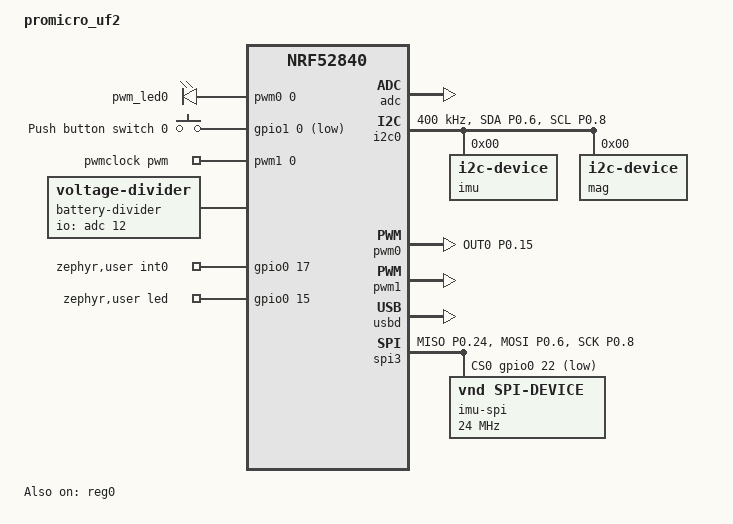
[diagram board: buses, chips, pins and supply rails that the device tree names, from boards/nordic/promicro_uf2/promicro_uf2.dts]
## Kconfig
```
#
# Copyright (c) 2023 Nordic Semiconductor
#
# SPDX-License-Identifier: LicenseRef-Nordic-5-Clause
#

config USE_SLIMENRF_CONSOLE
    bool "Use basic console"
    default y
    help
        Use basic console for commands.

choice
	prompt "Battery voltage mapping"
    default BATTERY_NO_MAPPING

config BATTERY_USE_REG_BUCK_MAPPING
    bool "Use buck regulator mapping (3.7V battery, DCDC)"
    help
      Use a constant power mapping for battery voltage.
      Preffered for systems with a buck regulator.
      Measured at a system voltage of 3.0V.

config BATTERY_USE_REG_LDO_MAPPING
    bool "Use LDO linear regulator mapping (3.7V battery, LDO)"
    help
      Use a constant current mapping for battery voltage.
      Preferred for systems with a linear regulator.

config BATTERY_NO_MAPPING
    bool "Disable battery voltage mapping"
    help
      Always map to 100% battery. Disables battery monitoring.

endchoice

choice
	prompt "Status LED color mapping"
    default LED_TRI_COLOR

config LED_RGB_COLOR
    bool "Use RGB color mapping"
    help
        Use RGB or RG color mapping for LED status if available.

config LED_TRI_COLOR
    bool "Use default color mapping"
    help
        Use the default color mapping for LED status.

endchoice

menu "Status LED default status color"
    depends on LED_RGB_COLOR

config LED_DEFAULT_COLOR_R
    int "Red value"
    range 0 10000
    default 4000
    depends on LED_RGB_COLOR
    help
        Red color for default status.
        Valid range is 0 to 10000.

config LED_DEFAULT_COLOR_G
    int "Green value"
    range 0 10000
    default 6000
    depends on LED_RGB_COLOR
    help
        Green color for default status.
        Valid range is 0 to 10000.

config LED_DEFAULT_COLOR_B
    int "Blue value"
    range 0 10000
    default 0
    depends on LED_RGB_COLOR
    help
        Blue color for default status.
        Valid range is 0 to 10000.

endmenu

config USER_EXTRA_ACTIONS
    bool "Multiple press actions"
    default y
    help
        Allow user to use multiple presses to calibrate, pair, or enter DFU.
        By default, pairing is available when holding down sw0 for 5 seconds.
        By default, DFU is available when holding down sw0 and plugging in a USB cable.

config IGNORE_RESET
    bool "Ignore reset"
    default y
    help
        If sw0 is available, don't perform any extra actions on reset.

config USER_SHUTDOWN
    bool "User shutdown support"
    default y
    help
        Allow user to use reset or sw0 to shutdown.

config USE_IMU_WAKE_UP
    bool "IMU wake up support"
    default y
    help
        Use IMU wake up state if IMU wake up is present.

config DELAY_SLEEP_ON_STATUS
    bool "Delay IMU wake up mode on status flags"
    default y
    depends on USE_IMU_WAKE_UP
    help
        Delay IMU wake up state if there is an active status flag or in pairing mode.

config WOM_USE_DCDC
    bool "Use DCDC in IMU wake up mode"
    depends on USE_IMU_WAKE_UP
    help
        Use DCDC instead of LDO in IMU wake up state if it is more efficient.

config CONNECTION_TIMEOUT_DELAY
    int "Connection timeout delay (ms)"
    default 300000
    depends on USER_SHUTDOWN
    help
        Connection timeout duration when receiver is not detected.

menu "Sensor power saving"

config SENSOR_LP_TIMEOUT
    int "Sensor low power delay (ms)"
    default 500
    help
        Low power timeout during no motion.

config SENSOR_USE_LOW_POWER_2
    bool "Use additional low power modes"
    help
        Use a higher latency sensor mode during no motion.

config USE_IMU_TIMEOUT
    bool "Use IMU wake up state"
    default y
    depends on USE_IMU_WAKE_UP
    help
        Use IMU wake up state during no motion.

config IMU_TIMEOUT_RAMP_MIN
    int "Sensor timeout minimum delay (ms)"
    default 1000
    depends on USE_IMU_TIMEOUT || SENSOR_USE_LOW_POWER_2
    help
        Minimum timeout during no motion.

config IMU_TIMEOUT_RAMP_MAX
    int "Sensor timeout maximum delay (ms)"
    default 15000
    depends on USE_IMU_TIMEOUT || SENSOR_USE_LOW_POWER_2
    help
        Maximum timeout during no motion.

config USE_ACTIVE_TIMEOUT
    bool "Use activity timeout"
    default y
    depends on USE_IMU_WAKE_UP || USER_SHUTDOWN
    help
        Delay IMU wake up state or user shutdown during activity.

choice 
    prompt "Activity timeout mode"
    default SLEEP_ON_ACTIVE_TIMEOUT
    depends on USE_ACTIVE_TIMEOUT

config SLEEP_ON_ACTIVE_TIMEOUT
    bool "IMU wake up"
    depends on USE_IMU_WAKE_UP
    help
        Use IMU wake up state when activity timeout elapses.

config SHUTDOWN_ON_ACTIVE_TIMEOUT
    bool "User shutdown"
    depends on USER_SHUTDOWN
    help
        Use user shutdown when activity timeout elapses.

endchoice

config ACTIVE_TIMEOUT_THRESHOLD
    int "Activity timeout threshold (ms)"
    default 15000
    depends on USE_ACTIVE_TIMEOUT
    help
        Trigger activity timeout after a certain threshold of activity.

config ACTIVE_TIMEOUT_DELAY
    int "Activity timeout delay (ms)"
    default 28800000
    depends on USE_ACTIVE_TIMEOUT
    help
        Activity timeout duration when triggered.

endmenu

config SENSOR_ACCEL_ODR
    int "Accelerometer output data rate (Hz)"
    default 100
    help
        Requested accelerometer output data rate. Actual rate will be raised to the nearest supported rate.
        A higher rate will increase the time to read and process sensor data.

config SENSOR_GYRO_ODR
    int "Gyrometer output data rate (Hz)"
    default 400
    help
        Requested gyrometer output data rate. Actual rate will be raised to the nearest supported rate.
        A higher rate will increase the time to read and process sensor data.
        400Hz is recommended for IMUs with poor gyrometer rate noise density. (Ex. BMI270, LSM6DS3TR-C)

config SENSOR_ACCEL_FS
    int "Accelerometer full scale (g)"
    default 4
    help
        Requested accelerometer full scale. Actual scale will be raised to the nearest supported scale.
        A lower scale may improve noise performance, but is more likely to saturate.

config SENSOR_GYRO_FS
    int "Gyrometer full scale (dps)"
    default 1000
    help
        Requested gyrometer full scale. Actual scale will be raised to the nearest supported scale.
        A lower scale may improve noise performance, but is more likely to saturate.

config SENSOR_USE_MAG
    bool "Magnetometer support"
    default y
    help
        Use magnetometer if it is present.

config USE_SENSOR_CLOCK
    bool "Use external IMU clock"
    default y
    help
        Use external IMU clock if it is present.

choice
	prompt "Sensor fusion"
    default SENSOR_USE_VQF
    help
        Select the sensor fusion method.

config SENSOR_USE_XIOFUSION
    bool "Use x-io Technologies Fusion"
    help
        Use x-io Technologies Fusion for sensor fusion.
        Based on Madgwick filter.

config SENSOR_USE_VQF
    bool "Use VQF"
    help
        Use VQF for sensor fusion.
        Based on Kalman filter.

endchoice

config SENSOR_USE_6_SIDE_CALIBRATION
    bool "Use 6-side calibration"
    default y
    depends on USE_SLIMENRF_CONSOLE
    help
        Use 6-side calibration for accelerometer.
        Calibration can be completed through the basic console.

config RADIO_TX_POWER
    int "Radio output power (dBm)"
    default 8
    help
        Radio output power level.
        A lower value may reduce power consumption.

source "Kconfig.zephyr"
```

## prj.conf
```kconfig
#CONFIG_NCS_SAMPLES_DEFAULTS
CONFIG_ASSERT=y
CONFIG_ASSERT_NO_COND_INFO=y
CONFIG_ASSERT_NO_MSG_INFO=y
CONFIG_RESET_ON_FATAL_ERROR=y

CONFIG_NCS_APPLICATION_BOOT_BANNER_STRING="SlimeVR-Tracker-nRF"
#CONFIG_NCS_BOOT_BANNER=n
CONFIG_BOOT_BANNER=n

CONFIG_ESB=y
#need to enable for nRF54L
CONFIG_NRFX_DPPI10=y

CONFIG_ADC=y
CONFIG_ADC_NRFX_SAADC=y
CONFIG_FPU=y
CONFIG_I2C=y
CONFIG_SPI=y
CONFIG_PINCTRL=y

CONFIG_NVS=y
CONFIG_NVS_LOOKUP_CACHE=y
CONFIG_NVS_INIT_BAD_MEMORY_REGION=y

CONFIG_POWEROFF=y
CONFIG_REBOOT=y

CONFIG_FLASH=y
CONFIG_FLASH_PAGE_LAYOUT=y
CONFIG_FLASH_MAP=y

CONFIG_SETTINGS=y
CONFIG_SETTINGS_RUNTIME=y
CONFIG_SETTINGS_NONE=y

CONFIG_MPU_ALLOW_FLASH_WRITE=y

CONFIG_RETAINED_MEM=y

CONFIG_USE_SEGGER_RTT=y
CONFIG_LOG=y
#CONFIG_PRINTK=y
CONFIG_LOG_MODE_DEFERRED=y
CONFIG_LOG_SPEED=y
CONFIG_LOG_BACKEND_RTT=y
CONFIG_CBPRINTF_FP_SUPPORT=y
CONFIG_ADC_LOG_LEVEL_OFF=y
CONFIG_LOG_FUNC_NAME_PREFIX_ERR=y
CONFIG_LOG_BUFFER_SIZE=1536
CONFIG_LOG_BACKEND_UART_AUTOSTART=n
CONFIG_LOG_PROCESS_THREAD_SLEEP_MS=50
CONFIG_LOG_PROCESS_THREAD_STACK_SIZE=1024

CONFIG_PWM=y
CONFIG_GPIO=y

CONFIG_CRC=y

CONFIG_NEWLIB_LIBC=y
CONFIG_NRFX_TIMER1=y

# Use uncalibrated RC clock on boot, will switch to external oscillator in the app after boot
CONFIG_CLOCK_CONTROL_NRF_K32SRC_RC=y
CONFIG_CLOCK_CONTROL_NRF_K32SRC_RC_CALIBRATION=n
CONFIG_CLOCK_CONTROL_NRF_K32SRC_SYNTH=y

# dont need it
CONFIG_CRYPTO=n

# set timeout for 25ms, sufficient for ~1000 bytes
CONFIG_I2C_NRFX_TRANSFER_TIMEOUT=25

CONFIG_USB_DEVICE_HID=y
CONFIG_USB_DEVICE_VID=0x1209
CONFIG_USB_DEVICE_PID=0x7692
CONFIG_USB_HID_BOOT_PROTOCOL=y
CONFIG_USB_DEVICE_INITIALIZE_AT_BOOT=n
CONFIG_USB_CDC_ACM=y
CONFIG_UART_INTERRUPT_DRIVEN=y
CONFIG_USB_WORKQUEUE_STACK_SIZE=512

CONFIG_SERIAL=y
CONFIG_CONSOLE=y
CONFIG_RTT_CONSOLE=y
CONFIG_UART_CONSOLE=y
CONFIG_UART_LINE_CTRL=y
# fit "write all <base64:173>"
CONFIG_CONSOLE_INPUT_MAX_LINE_LEN=256

CONFIG_LOG=y
CONFIG_USB_DRIVER_LOG_LEVEL_ERR=y
CONFIG_USB_DEVICE_LOG_LEVEL_ERR=y
CONFIG_USB_CDC_ACM_LOG_LEVEL_OFF=y

CONFIG_LOG_BACKEND_UART=y

CONFIG_CONSOLE_SUBSYS=y
CONFIG_CONSOLE_GETLINE=y

CONFIG_NVS_LOG_LEVEL_WRN=y
CONFIG_USB_HID_LOG_LEVEL_WRN=y

CONFIG_USB_DEVICE_SOF=y
CONFIG_USB_HID_REPORTS=256

#CONFIG_USB_HID_POLL_INTERVAL_MS=1
CONFIG_USB_HID_POLL_INTERVAL_MS=0
CONFIG_HID_INTERRUPT_EP_MPS=64
#CONFIG_ENABLE_HID_INT_OUT_EP=y

CONFIG_SYSTEM_WORKQUEUE_STACK_SIZE=256
CONFIG_MAIN_STACK_SIZE=512
#crashing on nrf54l at 512

CONFIG_THREAD_NAME=y

# TODO: because of icm426, this will break things and needs to be raised to at least 3k
CONFIG_HEAP_MEM_POOL_SIZE=2048
CONFIG_ISR_STACK_SIZE=1024

CONFIG_PM_DEVICE=y

CONFIG_BASE64=y

#CONFIG_THREAD_ANALYZER=y
#CONFIG_THREAD_ANALYZER_AUTO=y
#CONFIG_THREAD_ANALYZER_AUTO_INTERVAL=5
```

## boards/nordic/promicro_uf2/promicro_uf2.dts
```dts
// Copyright (c) 2024 Nordic Semiconductor ASA
// SPDX-License-Identifier: Apache-2.0

/dts-v1/;
#include <nordic/nrf52840_qiaa.dtsi>

//move to dtsi?
&pinctrl {
	i2c0_default: i2c0_default {
		group1 {
			psels = <NRF_PSEL(TWIM_SDA, 0, 6)>, <NRF_PSEL(TWIM_SCL, 0, 8)>;
			bias-disable;
		};
	};

	i2c0_sleep: i2c0_sleep {
		group1 {
			psels = <NRF_PSEL(TWIM_SDA, 0, 6)>, <NRF_PSEL(TWIM_SCL, 0, 8)>;
			bias-disable;
			low-power-enable;
		};
	};

	pwm0_default: pwm0_default {
		group1 {
			psels = <NRF_PSEL(PWM_OUT0, 0, 15)>;
			nordic,drive-mode = <NRF_DRIVE_D0S1>;
		};
	};

	pwm0_sleep: pwm0_sleep {
		group1 {
			psels = <NRF_PSEL(PWM_OUT0, 0, 15)>;
			low-power-enable;
		};
	};

	pwm1_default: pwm1_default {
		group1 {
			psels = <NRF_PIN_DISCONNECTED>;
		};
	};

	pwm1_sleep: pwm1_sleep {
		group1 {
			psels = <NRF_PIN_DISCONNECTED>;
			low-power-enable;
		};
	};

	spi3_default: spi3_default {
		group1 {
			psels = <NRF_PSEL(SPIM_MISO, 0, 24)>,
					<NRF_PSEL(SPIM_MOSI, 0, 6)>,
					<NRF_PSEL(SPIM_SCK, 0, 8)>;
		};
	};

	spi3_sleep: spi3_sleep {
		group1 {
			psels = <NRF_PSEL(SPIM_MISO, 0, 24)>,
					<NRF_PSEL(SPIM_MOSI, 0, 6)>,
					<NRF_PSEL(SPIM_SCK, 0, 8)>;
			low-power-enable;
		};
	};
};
//end

/ {
	model = "promicro_uf2";
	compatible = "promicro_uf2";

	chosen {
		zephyr,sram = &sram0;
		zephyr,flash = &flash0;
		zephyr,console = &cdc_acm_uart0;
		zephyr,shell-uart = &cdc_acm_uart0;
	};

	pwmleds {
		compatible = "pwm-leds";
		pwm_led0: pwm_led_0 {
			pwms = <&pwm0 0 PWM_MSEC(1) PWM_POLARITY_NORMAL>;
		};
	};

	buttons {
		compatible = "gpio-keys";
		button0: button_0 {
			gpios = <&gpio1 0 (GPIO_PULL_UP | GPIO_ACTIVE_LOW)>;
			label = "Push button switch 0";
		};
	};

	aliases {
		sw0 = &button0;
		pwm-led0 = &pwm_led0;
	};

	pwmclock: pwmclock {
		compatible = "pwm-clock";
		#clock-cells = <1>;
		pwms = <&pwm1 0 PWM_HZ(32768) PWM_POLARITY_NORMAL>;
	};

	battery-divider {
		compatible = "voltage-divider";
		status = "okay";
		io-channels = <&adc 12>; // Measure VDDHDIV5
		output-ohms = <1>;
		full-ohms = <5>;
	};

	zephyr,user {
		int0-gpios = <&gpio0 17 0>;
		led-gpios = <&gpio0 15 GPIO_OPEN_SOURCE>;
		// clk-gpios = <&gpio0 20 GPIO_OPEN_DRAIN>; // Uncomment and set to correct pin if using an external clock (crystal oscillator)
	};

};

&reg0 {
	status = "okay";
};

&reg1 {
	regulator-initial-mode = <NRF5X_REG_MODE_DCDC>;
};

&adc {
	status = "okay";
};

&gpiote {
	status = "okay";
};

&gpio0 {
	status = "okay";
};

&gpio1 {
	status = "okay";
};

&i2c0 {
	compatible = "nordic,nrf-twim";
	status = "okay";
	zephyr,concat-buf-size = <1023>;
	zephyr,flash-buf-max-size = <1023>;
	clock-frequency = <I2C_BITRATE_FAST>;
	pinctrl-0 = <&i2c0_default>;
	pinctrl-1 = <&i2c0_sleep>;
	pinctrl-names = "default", "sleep";

	imu: imu@0 { // any address out of range (00, 7f, etc. will search all addresses and stored address first if available, specify an address here to search first otherwise
		compatible = "i2c-device";
		label = "imu";
		reg = <0>;
	};

	mag: mag@0 {
		compatible = "i2c-device";
		label = "mag";
		reg = <0>;
	};

};

&pwm0 {
	status = "okay";
	pinctrl-0 = <&pwm0_default>;
	pinctrl-1 = <&pwm0_sleep>;
	pinctrl-names = "default", "sleep";
};

&pwm1 {
	status = "okay";
	pinctrl-0 = <&pwm1_default>;
	pinctrl-1 = <&pwm1_sleep>;
	pinctrl-names = "default", "sleep";
};

zephyr_udc0: &usbd {
	compatible = "nordic,nrf-usbd";
	status = "okay";
	cdc_acm_uart0: cdc_acm_uart0 {
		compatible = "zephyr,cdc-acm-uart";
	};
};

&cryptocell {
	status = "disabled";
};

&nfct {
	status = "disabled";
};

&spi3 {
	compatible = "nordic,nrf-spim";
	status = "okay";
	max-frequency = <DT_FREQ_M(24)>;
	pinctrl-0 = <&spi3_default>;
	pinctrl-1 = <&spi3_sleep>;
	pinctrl-names = "default", "sleep";
	cs-gpios = <&gpio0 22 GPIO_ACTIVE_LOW>;

	imu_spi: imu_spi@0 {
		compatible = "vnd,spi-device";
		spi-max-frequency = <DT_FREQ_M(24)>;
		label = "imu-spi";
		reg = <0>;
	};
};
```

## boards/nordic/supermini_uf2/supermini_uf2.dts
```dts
// Copyright (c) 2024 Nordic Semiconductor ASA
// SPDX-License-Identifier: Apache-2.0

/dts-v1/;
#include <nordic/nrf52840_qiaa.dtsi>

// move to dtsi?
&pinctrl {
    i2c0_default: i2c0_default {
        group1 {
            psels = <NRF_PSEL(TWIM_SDA, 0, 6)>,    /* I²C SDA on P0.06 (unchanged) */
                    <NRF_PSEL(TWIM_SCL, 0, 8)>;    /* I²C SCL on P0.08 (unchanged) */
            bias-disable;
        };
    };

    i2c0_sleep: i2c0_sleep {
        group1 {
            psels = <NRF_PSEL(TWIM_SDA, 0, 6)>,
                    <NRF_PSEL(TWIM_SCL, 0, 8)>;
            bias-disable;
            low-power-enable;
        };
    };

    pwm0_default: pwm0_default {
        group1 {
            psels = <NRF_PSEL(PWM_OUT0, 0, 15)>;
            nordic,drive-mode = <NRF_DRIVE_D0S1>;
        };
    };

    pwm0_sleep: pwm0_sleep {
        group1 {
            psels = <NRF_PSEL(PWM_OUT0, 0, 15)>;
            low-power-enable;
        };
    };

    pwm1_default: pwm1_default {
        group1 {
            psels = <NRF_PIN_DISCONNECTED>;
        };
    };

    pwm1_sleep: pwm1_sleep {
        group1 {
            psels = <NRF_PIN_DISCONNECTED>;
            low-power-enable;
        };
    };

    /*
     * === SPI3 pinctrl groups, remapped for your IMU pins ===
     *
     *   IMU SCL (SPI SCK)  → P0.17
     *   IMU SDA (SPI MOSI) → P0.20
     *   IMU SDO (SPI MISO) → P0.22
     */
    spi3_default: spi3_default {
        group1 {
            psels = <NRF_PSEL(SPIM_MISO, 0, 22)>,  /* P0.22 as MISO (IMU SDO) */
                    <NRF_PSEL(SPIM_MOSI, 0, 20)>,  /* P0.20 as MOSI (IMU SDA) */
                    <NRF_PSEL(SPIM_SCK,  0, 17)>;  /* P0.17 as SCK  (IMU SCL) */
        };
    };

    spi3_sleep: spi3_sleep {
        group1 {
            psels = <NRF_PSEL(SPIM_MISO, 0, 22)>,
                    <NRF_PSEL(SPIM_MOSI, 0, 20)>,
                    <NRF_PSEL(SPIM_SCK,  0, 17)>;
            low-power-enable;
        };
    };
};
// end

/ {
    model       = "supermini_uf2";
    compatible  = "supermini_uf2";

    chosen {
        zephyr,sram       = &sram0;
        zephyr,flash      = &flash0;
        zephyr,console    = &cdc_acm_uart0;
        zephyr,shell-uart = &cdc_acm_uart0;
    };

    pwmleds {
        compatible = "pwm-leds";
        pwm_led0: pwm_led_0 {
            pwms = <&pwm0 0 PWM_MSEC(1) PWM_POLARITY_NORMAL>;
        };
    };

    buttons {
        compatible = "gpio-keys";
        button0: button_0 {
            gpios = <&gpio0 11 (GPIO_PULL_UP | GPIO_ACTIVE_LOW)>;
            label = "Push button switch 0";
        };
    };

    aliases {
        // sw0 = &button0; // Uncomment to Enable SW0
        pwm-led0 = &pwm_led0;
    };

    pwmclock: pwmclock {
        compatible    = "pwm-clock";
        #clock-cells  = <1>;
        pwms          = <&pwm1 0 PWM_HZ(32768) PWM_POLARITY_NORMAL>;
    };

    battery-divider {
        compatible  = "voltage-divider";
        status      = "okay";
        io-channels = <&adc 12>; // Measure VDDHDIV5
        output-ohms = <1>;
        full-ohms   = <5>;
    };

    zephyr,user {
        int0-gpios = <&gpio0 11 0>;
        led-gpios  = <&gpio0 15 GPIO_OPEN_SOURCE>;
    };
};

&reg1 {
    regulator-initial-mode = <NRF5X_REG_MODE_DCDC>;
};

&adc {
    status = "okay";
};

&gpiote {
    status = "okay";
};

&gpio0 {
    status = "okay";
};

&gpio1 {
    status = "okay";
};

/*
 * === I²C0 controller (unchanged) ===
 *   SDA → P0.06, SCL → P0.08
 */
&i2c0 {
    compatible             = "nordic,nrf-twim";
    status                 = "okay";
    zephyr,concat-buf-size = <1023>;
    zephyr,flash-buf-max-size = <1023>;
    clock-frequency        = <I2C_BITRATE_FAST>;
    pinctrl-0              = <&i2c0_default>;
    pinctrl-1              = <&i2c0_sleep>;
    pinctrl-names          = "default", "sleep";

    imu: imu@0 {
        compatible = "i2c-device";
        label      = "imu";
        reg        = <0>;
    };

    mag: mag@0 {
        compatible = "i2c-device";
        label      = "mag";
        reg        = <0>;
    };
};

&pwm0 {
    status       = "okay";
    pinctrl-0    = <&pwm0_default>;
    pinctrl-1    = <&pwm0_sleep>;
    pinctrl-names = "default", "sleep";
};

&pwm1 {
    status       = "okay";
    pinctrl-0    = <&pwm1_default>;
    pinctrl-1    = <&pwm1_sleep>;
    pinctrl-names = "default", "sleep";
};

zephyr_udc0: &usbd {
    compatible = "nordic,nrf-usbd";
    status     = "okay";
    cdc_acm_uart0: cdc_acm_uart0 {
        compatible = "zephyr,cdc-acm-uart";
    };
};

&cryptocell {
    status = "disabled";
};

&nfct {
    status = "disabled";
};

/*
 * === SPI3 controller, remapped for your IMU ===
 *   MISO → P0.22 (IMU SDO)
 *   MOSI → P0.20 (IMU SDA)
 *   SCK  → P0.17 (IMU SCL)
 *   CS   → P0.24 (IMU CS, active‐low)
 */
&spi3 {
    compatible     = "nordic,nrf-spim";
    status         = "okay";
    max-frequency  = <DT_FREQ_M(24)>;
    pinctrl-0      = <&spi3_default>;
    pinctrl-1      = <&spi3_sleep>;
    pinctrl-names  = "default", "sleep";

    cs-gpios = <&gpio0 24 GPIO_ACTIVE_LOW>;

    imu_spi: imu_spi@0 {
        compatible         = "vnd,spi-device";
        spi-max-frequency  = <DT_FREQ_M(24)>;
        label              = "imu-spi";
        reg                = <0>;
    };
};
```

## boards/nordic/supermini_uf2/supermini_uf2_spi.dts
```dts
// Copyright (c) 2024 Nordic Semiconductor ASA
// SPDX-License-Identifier: Apache-2.0

/dts-v1/;
#include <nordic/nrf52840_qiaa.dtsi>

/ {
    model = "supermini_uf2";
    compatible = "supermini_uf2";

    chosen {
        zephyr,sram       = &sram0;
        zephyr,flash      = &flash0;
        zephyr,console    = &cdc_acm_uart0;
        zephyr,shell-uart = &cdc_acm_uart0;
    };

    pwmleds {
        compatible = "pwm-leds";
        pwm_led0: pwm_led_0 {
            pwms = <&pwm0 0 PWM_MSEC(1) PWM_POLARITY_NORMAL>;
        };
    };

    buttons {
        compatible = "gpio-keys";
        button0: button_0 {
            gpios = <&gpio0 6 (GPIO_PULL_UP | GPIO_ACTIVE_LOW)>;
            label = "Push button switch 0";
        };
    };

    aliases {
        sw0      = &button0;     /* Uncomment to Enable SW0 */
        pwm-led0 = &pwm_led0;
    };

    pwmclock: pwmclock {
        compatible    = "pwm-clock";
        #clock-cells  = <1>;
        pwms          = <&pwm1 0 PWM_HZ(32768) PWM_POLARITY_NORMAL>;
    };

    battery-divider {
        compatible  = "voltage-divider";
        status      = "okay";
        io-channels = <&adc 12>;   /* Measure VDDHDIV5 */
        output-ohms = <1>;
        full-ohms   = <5>;
    };

    zephyr,user {
        /*
         * IMU VCC  → P0.17 (GPIO_OPEN_SOURCE)
         * IMU GND  → P0.20 (GPIO_OPEN_DRAIN)
         * IMU INT1 → P0.02 (active-high by default)
         * (No CLK_CTL on this IMU, so we omit that line)
         */
        pwr-gpios = <&gpio0 17 GPIO_OPEN_SOURCE>;
        gnd-gpios = <&gpio0 20 GPIO_OPEN_DRAIN>;
        int0-gpios = <&gpio0 2 0>;
        led-gpios  = <&gpio0 15 GPIO_OPEN_SOURCE>;
        /* clk-gpios removed, since this IMU has no CLK_CTL pin */
    };
};

&reg1 {
    regulator-initial-mode = <NRF5X_REG_MODE_DCDC>;
};

&adc {
    status = "okay";
};

&gpiote {
    status = "okay";
};

&gpio0 {
    status = "okay";
};

&gpio1 {
    status = "okay";
};

&pwm0 {
    status = "okay";
    pinctrl-0 = <&pwm0_default>;
    pinctrl-1 = <&pwm0_sleep>;
    pinctrl-names = "default", "sleep";
};

&pwm1 {
    status = "okay";
    pinctrl-0 = <&pwm1_default>;
    pinctrl-1 = <&pwm1_sleep>;
    pinctrl-names = "default", "sleep";
};

zephyr_udc0: &usbd {
    compatible = "nordic,nrf-usbd";
    status     = "okay";
    cdc_acm_uart0: cdc_acm_uart0 {
        compatible = "zephyr,cdc-acm-uart";
    };
};

&cryptocell {
    status = "disabled";
};

&nfct {
    status = "disabled";
};

&pinctrl {
    pwm0_default: pwm0_default {
        group1 {
            psels = <NRF_PSEL(PWM_OUT0, 0, 15)>;
            nordic,drive-mode = <NRF_DRIVE_D0S1>;
        };
    };

    pwm0_sleep: pwm0_sleep {
        group1 {
            psels = <NRF_PSEL(PWM_OUT0, 0, 15)>;
            low-power-enable;
        };
    };

    pwm1_default: pwm1_default {
        group1 {
            psels = <NRF_PIN_DISCONNECTED>;
        };
    };

    pwm1_sleep: pwm1_sleep {
        group1 {
            psels = <NRF_PIN_DISCONNECTED>;
            low-power-enable;
        };
    };

    /*
     * === SPI3 pinctrl groups, remapped for your IMU pins ===
     *
     * IMU SCL (→ SPIM_SCK)  = P0.22
     * IMU SDA (→ SPIM_MOSI) = P0.24
     * IMU SDO (→ SPIM_MISO) = P0.11
     */
    spi3_default: spi3_default {
        group1 {
            psels = <NRF_PSEL(SPIM_MISO, 0, 11)>,  /* P0.11 as MISO (IMU SDO) */
                    <NRF_PSEL(SPIM_MOSI, 0, 24)>,  /* P0.24 as MOSI (IMU SDA) */
                    <NRF_PSEL(SPIM_SCK,  0, 22)>;  /* P0.22 as SCK  (IMU SCL) */
        };
    };

    spi3_sleep: spi3_sleep {
        group1 {
            psels = <NRF_PSEL(SPIM_MISO, 0, 11)>,
                    <NRF_PSEL(SPIM_MOSI, 0, 24)>,
                    <NRF_PSEL(SPIM_SCK,  0, 22)>;
            low-power-enable;
        };
    };
};

/*
 * === SPI3 controller node ===
 *
 * Now that the pinctrl groups match the IMU pins, we enable SPI3
 * and wire the CS line to P1.00 (active-low).
 */
&spi3 {
    compatible     = "nordic,nrf-spim";
    status         = "okay";
    max-frequency  = <DT_FREQ_M(24)>;          /* 24 MHz SPI clock */
    pinctrl-0      = <&spi3_default>;
    pinctrl-1      = <&spi3_sleep>;
    pinctrl-names  = "default", "sleep";

    /* IMU CS → P1.00 (active-low) */
    cs-gpios = <&gpio1 0 GPIO_ACTIVE_LOW>;

    imu_spi: imu_spi@0 {
        compatible         = "vnd,spi-device";
        spi-max-frequency  = <DT_FREQ_M(24)>;
        label              = "imu-spi";
        reg                = <0>;               /* chip-select index = 0 */
    };
};
```

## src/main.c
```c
/*
	SlimeVR Code is placed under the MIT license
	Copyright (c) 2025 SlimeVR Contributors

	Permission is hereby granted, free of charge, to any person obtaining a copy
	of this software and associated documentation files (the "Software"), to deal
	in the Software without restriction, including without limitation the rights
	to use, copy, modify, merge, publish, distribute, sublicense, and/or sell
	copies of the Software, and to permit persons to whom the Software is
	furnished to do so, subject to the following conditions:

	The above copyright notice and this permission notice shall be included in
	all copies or substantial portions of the Software.

	THE SOFTWARE IS PROVIDED "AS IS", WITHOUT WARRANTY OF ANY KIND, EXPRESS OR
	IMPLIED, INCLUDING BUT NOT LIMITED TO THE WARRANTIES OF MERCHANTABILITY,
	FITNESS FOR A PARTICULAR PURPOSE AND NONINFRINGEMENT. IN NO EVENT SHALL THE
	AUTHORS OR COPYRIGHT HOLDERS BE LIABLE FOR ANY CLAIM, DAMAGES OR OTHER
	LIABILITY, WHETHER IN AN ACTION OF CONTRACT, TORT OR OTHERWISE, ARISING FROM,
	OUT OF OR IN CONNECTION WITH THE SOFTWARE OR THE USE OR OTHER DEALINGS IN
	THE SOFTWARE.
*/
#include "globals.h"
#include "system/system.h"
//#include "timer.h"
#include "connection/esb.h"
#include "sensor/sensor.h"

#include <zephyr/sys/reboot.h>

#define DFU_DBL_RESET_MEM 0x20007F7C
#define DFU_DBL_RESET_APP 0x4ee5677e

static uint32_t *dbl_reset_mem __attribute__((unused)) = ((uint32_t *)DFU_DBL_RESET_MEM); // retained

LOG_MODULE_REGISTER(main, LOG_LEVEL_INF);

#if DT_NODE_HAS_PROP(DT_ALIAS(sw0), gpios)
#define BUTTON_EXISTS true
#endif

#define DFU_EXISTS CONFIG_BUILD_OUTPUT_UF2 || CONFIG_BOARD_HAS_NRF5_BOOTLOADER
#define ADAFRUIT_BOOTLOADER CONFIG_BUILD_OUTPUT_UF2

int main(void)
{
#if IGNORE_RESET && BUTTON_EXISTS
	bool reset_pin_reset = false;
#else
#ifdef NRF_RESET
	bool reset_pin_reset = NRF_RESET->RESETREAS & RESET_RESETREAS_RESETPIN_Msk;
	NRF_RESET->RESETREAS = NRF_RESET->RESETREAS; // Clear RESETREAS
#else
	bool reset_pin_reset = NRF_POWER->RESETREAS & POWER_RESETREAS_RESETPIN_Msk;
	NRF_POWER->RESETREAS = NRF_POWER->RESETREAS; // Clear RESETREAS
#endif
#endif

	set_led(SYS_LED_PATTERN_ON, SYS_LED_PRIORITY_BOOT); // Boot LED

	uint8_t reboot_counter = reboot_counter_read();
	bool booting_from_shutdown = !reboot_counter && (reset_pin_reset || button_read()); // 0 means from user shutdown or failed ram validation

	/* if button is not held after booting from shutdown, power off again
	 * if button press is normal, continue boot
	 * if button is held for 5 seconds, reset pairing and continue boot
	 */

	if (button_read())
	{
		while (button_read())
		{
			if (k_uptime_get() > 1000)
				set_led(SYS_LED_PATTERN_LONG, SYS_LED_PRIORITY_HIGHEST);
			if (k_uptime_get() > 5000)
			{
				LOG_INF("Pairing requested");
				esb_reset_pair();
				break;
			}
			k_msleep(1);
		}
#if USER_SHUTDOWN_ENABLED
		if (k_uptime_get() < 50 && booting_from_shutdown) // debounce
			sys_request_system_off();
#endif
		if (k_uptime_get() <= 5000)
			set_led(SYS_LED_PATTERN_ONESHOT_POWERON, SYS_LED_PRIORITY_HIGHEST);
		else
			set_led(SYS_LED_PATTERN_OFF, SYS_LED_PRIORITY_HIGHEST);
	}
	else if (booting_from_shutdown)
		set_led(SYS_LED_PATTERN_ONESHOT_POWERON, SYS_LED_PRIORITY_BOOT);

	bool docked = dock_read();

	uint8_t reset_mode = -1;

	if (reboot_counter == 0)
		reboot_counter = 100;
	else if (reboot_counter > 200)
		reboot_counter = 200; // How did you get here
	reset_mode = reboot_counter - 100;
	if (reset_pin_reset && !docked) // Count pin resets while not docked
	{
		reboot_counter++;
		reboot_counter_write(reboot_counter);
		LOG_INF("Reset count: %u", reboot_counter);
#if ADAFRUIT_BOOTLOADER && !(IGNORE_RESET && BUTTON_EXISTS) // Using Adafruit bootloader, skip DFU if reset button is in use
		(*dbl_reset_mem) = DFU_DBL_RESET_APP; // Skip DFU
#endif
		k_msleep(1000); // Wait before clearing counter and continuing
	}
	reboot_counter_write(100);
	if (!reset_pin_reset && reset_mode == 0) // Only need to check once, if the button is pressed again an interrupt is triggered from before
		reset_mode = -1; // Cancel reset_mode (shutdown)

#if USER_SHUTDOWN_ENABLED
	bool charging = chg_read();
	bool charged = stby_read();
	bool plugged = vin_read();

	if (reset_mode == 0 && !booting_from_shutdown && !charging && !charged && !plugged) // Reset mode user shutdown, only if unplugged and undocked
		sys_user_shutdown();
#endif

	if (!booting_from_shutdown) // ONESHOT_POWERON automatically sets LED off
		set_led(SYS_LED_PATTERN_OFF, SYS_LED_PRIORITY_BOOT);

	sys_reset_mode(reset_mode);

	// Perform ICM45686 startup health check after system initialization
	// This helps catch clock issues early, especially after deep sleep wake-up or USB reconnection
	sensor_imu_startup_check();

	return 0;
}
```

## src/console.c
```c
#include "globals.h"
#include "system/system.h"
#include "system/battery_tracker.h"
#include "sensor/sensor.h"
#include "sensor/calibration.h"
#include "connection/esb.h"
#include "build_defines.h"
#include "parse_args.h"

#if CONFIG_USB_DEVICE_STACK
#define USB DT_NODELABEL(usbd)
#define USB_EXISTS (DT_NODE_HAS_STATUS(USB, okay) && CONFIG_UART_CONSOLE)
#endif

#if (USB_EXISTS || CONFIG_RTT_CONSOLE) && CONFIG_USE_SLIMENRF_CONSOLE

#if USB_EXISTS
#include <zephyr/console/console.h>
#include <zephyr/logging/log_ctrl.h>
#else
#include "system/rtt_console.h"
#endif
#include <zephyr/drivers/gpio.h>
#include <zephyr/sys/reboot.h>
#include <zephyr/sys/base64.h>

#include <ctype.h>

LOG_MODULE_REGISTER(console, LOG_LEVEL_INF);

static void console_thread(void);
#if USB_EXISTS
static struct k_thread console_thread_id;
static K_THREAD_STACK_DEFINE(console_thread_id_stack, 1024); // TODO: larger stack size to handle print info
#else
K_THREAD_DEFINE(console_thread_id, 1024, console_thread, NULL, NULL, NULL, CONSOLE_THREAD_PRIORITY, 0, 0);
#endif

#define DFU_EXISTS CONFIG_BUILD_OUTPUT_UF2 || CONFIG_BOARD_HAS_NRF5_BOOTLOADER
#define ADAFRUIT_BOOTLOADER CONFIG_BUILD_OUTPUT_UF2
#define NRF5_BOOTLOADER CONFIG_BOARD_HAS_NRF5_BOOTLOADER

#if NRF5_BOOTLOADER
static const struct device *gpio_dev = DEVICE_DT_GET(DT_NODELABEL(gpio0));
#endif

#if DT_NODE_HAS_STATUS(DT_NODELABEL(mag), okay)
#define SENSOR_MAG_EXISTS true
#endif

static const char *meows[] = {
	"Mew",
	"Meww",
	"Meow",
	"Meow meow",
	"Mrrrp",
	"Mrrf",
	"Mreow",
	"Mrrrow",
	"Mrrr",
	"Purr",
	"mew",
	"meww",
	"meow",
	"meow meow",
	"mrrrp",
	"mrrf",
	"mreow",
	"mrrrow",
	"mrrr",
	"purr",
};

static const char *meow_punctuations[] = {
	".",
	"?",
	"!",
	"-",
	"~",
	""
};

static const char *meow_suffixes[] = {
	" :3",
	" :3c",
	" ;3",
	" ;3c",
	" x3",
	" x3c",
	" X3",
	" X3c",
	" >:3",
	" >:3c",
	" >;3",
	" >;3c",
	""
};

void console_thread_create(void)
{
#if USB_EXISTS
	k_thread_create(&console_thread_id, console_thread_id_stack, K_THREAD_STACK_SIZEOF(console_thread_id_stack), (k_thread_entry_t)console_thread, NULL, NULL, NULL, CONSOLE_THREAD_PRIORITY, 0, K_NO_WAIT);
#endif
}

void console_thread_abort(void)
{
#if USB_EXISTS
	k_thread_abort(&console_thread_id);
#endif
}

static void print_board(void)
{
#if USB_EXISTS
	printk(CONFIG_USB_DEVICE_MANUFACTURER " " CONFIG_USB_DEVICE_PRODUCT "\n");
#endif
	printk(FW_STRING);

	printk("\nBoard: " CONFIG_BOARD "\n");
	printk("SOC: " CONFIG_SOC "\n");
	printk("Target: " CONFIG_BOARD_TARGET "\n");
}

static void print_sensor(void)
{
	printk("IMU: %s\n", (retained->imu_addr & 0x7F) != 0x7F ? sensor_get_sensor_imu_name() : "Not searching");
	if (retained->imu_reg != 0xFF)
		printk("Interface: %s\n", (retained->imu_reg & 0x80) ? "SPI" : "I2C");
	printk("Address: 0x%02X%02X\n", retained->imu_addr, retained->imu_reg);

#if SENSOR_MAG_EXISTS
	printk("\nMagnetometer: %s\n", (retained->mag_addr & 0x7F) != 0x7F ? sensor_get_sensor_mag_name() : "Not searching");
	if (retained->mag_reg != 0xFF)
		printk("Interface: %s%s\n", (retained->mag_reg & 0x80) ? "SPI" : "I2C", (retained->mag_addr & 0x80) ? ", external" : "");
	printk("Address: 0x%02X%02X\n", retained->mag_addr, retained->mag_reg);
#endif

	if (CONFIG_1_SETTINGS_READ(CONFIG_1_SENSOR_USE_6_SIDE_CALIBRATION))
	{
		printk("\nAccelerometer matrix:\n");
		for (int i = 0; i < 3; i++)
			printk("%.5f %.5f %.5f %.5f\n", (double)retained->accBAinv[0][i], (double)retained->accBAinv[1][i], (double)retained->accBAinv[2][i], (double)retained->accBAinv[3][i]);
	}
	else
	{
		printk("\nAccelerometer bias: %.5f %.5f %.5f\n", (double)retained->accelBias[0], (double)retained->accelBias[1], (double)retained->accelBias[2]);
	}
	printk("Gyroscope bias: %.5f %.5f %.5f\n", (double)retained->gyroBias[0], (double)retained->gyroBias[1], (double)retained->gyroBias[2]);
#if SENSOR_MAG_EXISTS
//	printk("Magnetometer bridge offset: %.5f %.5f %.5f\n", (double)retained->magBias[0], (double)retained->magBias[1], (double)retained->magBias[2]);
	printk("Magnetometer matrix:\n");
	for (int i = 0; i < 3; i++)
		printk("%.5f %.5f %.5f %.5f\n", (double)retained->magBAinv[0][i], (double)retained->magBAinv[1][i], (double)retained->magBAinv[2][i], (double)retained->magBAinv[3][i]);
#endif

	printk("\nFusion: %s\n", sensor_get_sensor_fusion_name());
}

static void print_connection(void)
{
	bool paired = retained->paired_addr[0];
	printk(paired ? "Tracker ID: %u\n" : "\nTracker ID: None\n", retained->paired_addr[1]);
	printk("Device address: %012llX\n", *(uint64_t *)NRF_FICR->DEVICEADDR & 0xFFFFFFFFFFFF);
	printk(paired ? "Receiver address: %012llX\n" : "Receiver address: None\n", (*(uint64_t *)&retained->paired_addr[0] >> 16) & 0xFFFFFFFFFFFF);
	printk("Channel frequency: %d\n", esb_get_frequency());
}

static void print_battery(void)
{
	int battery_mV = sys_get_valid_battery_mV();
	int16_t calibrated_pptt = sys_get_calibrated_battery_pptt(sys_get_valid_battery_pptt());
	uint64_t unplugged_time = sys_get_last_unplugged_time();
	uint64_t remaining = sys_get_battery_remaining_time_estimate();
	uint64_t runtime = sys_get_battery_runtime_estimate();
	if (battery_mV > 0)
	{
		unplugged_time = k_ticks_to_us_floor64(k_uptime_ticks() - unplugged_time);
		uint32_t hours = unplugged_time / 3600000000;
		unplugged_time %= 3600000000;
		uint8_t minutes = unplugged_time / 60000000;
		if (hours > 0 || minutes > 0)
			printk("Battery: %.0f%% (Read %uh %umin ago)\n", (double)calibrated_pptt / 100.0, hours, minutes);
		else
			printk("Battery: %.0f%%\n", (double)calibrated_pptt / 100.0);
	}
	else if (unplugged_time == 0)
	{
		printk("Battery: Waiting for valid reading\n");
	}
	else
	{
		printk("Battery: None\n");
	}
	if (remaining > 0)
	{
		remaining = k_ticks_to_us_floor64(remaining);
		uint32_t hours = remaining / 3600000000;
		remaining %= 3600000000;
		uint8_t minutes = remaining / 60000000;
		printk("Remaining runtime: %uh %umin\n", hours, minutes);
	}
	else
	{
		printk("Remaining runtime: Not available\n");
	}
	if (runtime > 0)
	{
		runtime = k_ticks_to_us_floor64(runtime);
		uint32_t hours = runtime / 3600000000;
		runtime %= 3600000000;
		uint8_t minutes = runtime / 60000000;
		printk("Fully charged runtime: %uh %umin\n", hours, minutes);
	}
	else
	{
		printk("Fully charged runtime: Not available\n");
	}
}

static void print_info(void)
{
	print_board();
	printk("\n");
	print_sensor();
	printk("\n");
	print_connection();
	printk("\n");
	print_battery();
}

static void print_uptime(const uint64_t ticks, const char *name)
{
	uint64_t uptime = k_ticks_to_us_floor64(ticks);

	uint32_t hours = uptime / 3600000000;
	uptime %= 3600000000;
	uint8_t minutes = uptime / 60000000;
	uptime %= 60000000;
	uint8_t seconds = uptime / 1000000;
	uptime %= 1000000;
	uint16_t milliseconds = uptime / 1000;
	uint16_t microseconds = uptime % 1000;

	printk("%s: %02u:%02u:%02u.%03u,%03u\n", name, hours, minutes, seconds, milliseconds, microseconds);
}

static void print_battery_tracker(void)
{
	int adc_mV = sys_get_battery_mV();
	printk("ADC: %d mV\n", adc_mV);

	int battery_mV = sys_get_valid_battery_mV();
	int16_t pptt = sys_get_valid_battery_pptt();
	int16_t calibrated_pptt = sys_get_calibrated_battery_pptt(pptt);
	uint64_t unplugged_time = sys_get_last_unplugged_time();
	if (battery_mV > 0)
		printk("\nBattery: %.2f%% (Raw %.2f%%, %d mV)\n", (double)calibrated_pptt / 100.0, (double)pptt / 100.0, battery_mV);
	else
		printk("\nBattery: None\n");
	if (unplugged_time > 0)
		print_uptime(k_uptime_ticks() - unplugged_time, "Last updated");
	else
		printk("Last updated: Never\n");

	uint64_t runtime = sys_get_battery_runtime_estimate();
	uint64_t runtime_min = sys_get_battery_runtime_min_estimate();
	uint64_t runtime_max = sys_get_battery_runtime_max_estimate();
	uint64_t remaining = sys_get_battery_remaining_time_estimate();
	if (remaining > 0)
		print_uptime(remaining, "\nRemaining runtime");
	else
		printk("Remaining runtime: Not available\n");
	if (runtime > 0)
		print_uptime(runtime, "Fully charged runtime");
	else
		printk("Fully charged runtime: Not available\n");
	if (runtime_min > 0)
		print_uptime(runtime_min, "Minimum runtime");
	else
		printk("Minimum runtime: Not available\n");
	if (runtime_max > 0)
		print_uptime(runtime_max, "Maximum runtime");
	else
		printk("Maximum runtime: Not available\n");

	int16_t last_min = sys_get_last_cycle_min_pptt();
	int16_t last_max = sys_get_last_cycle_max_pptt();
	int16_t last_calibrated_min = sys_get_calibrated_battery_pptt(last_min);
	int16_t last_calibrated_max = sys_get_calibrated_battery_pptt(last_max);
	uint64_t last_runtime = sys_get_last_cycle_runtime();
	if (last_min >= 0 && last_max >= 0 && last_runtime > 0)
	{
		printk("\nLast discharge cycle: %.2f%% -> %.2f%% (Raw %.2f%% -> %.2f%%)\n", (double)last_calibrated_max / 100.0, (double)last_calibrated_min / 100.0, (double)last_max / 100.0, (double)last_min / 100.0);
		print_uptime(last_runtime, "Last cycle runtime");
	}
	else
	{
		printk("\nLast cycle: Not available\n");
	}

	uint8_t coverage = sys_get_battery_calibration_coverage() * 5;
	int16_t min = sys_get_calibrated_battery_range_min_pptt();
	int16_t max = sys_get_calibrated_battery_range_max_pptt();
	if (min >= 0 && max >= 0)
		printk("\nCalibration: %.0f%% - %.0f%% (%.0f%% coverage)\n", (double)min / 100.0, (double)max / 100.0, (double)coverage);
	else
		printk("\nCalibration: None\n");
	printk("Cycle count: ~%.2f\n", (double)sys_get_battery_cycles() / 20.0);
}

static void print_meow(void)
{
	int64_t ticks = k_uptime_ticks();

	ticks %= ARRAY_SIZE(meows) * ARRAY_SIZE(meow_punctuations) * ARRAY_SIZE(meow_suffixes); // silly number generator
	uint8_t meow = ticks / (ARRAY_SIZE(meow_punctuations) * ARRAY_SIZE(meow_suffixes));
	ticks %= (ARRAY_SIZE(meow_punctuations) * ARRAY_SIZE(meow_suffixes));
	uint8_t punctuation = ticks / ARRAY_SIZE(meow_suffixes);
	uint8_t suffix = ticks % ARRAY_SIZE(meow_suffixes);

	printk("%s%s%s\n", meows[meow], meow_punctuations[punctuation], meow_suffixes[suffix]);
}

static int32_t parse_config_settings_id(char *s)
{
	int32_t id = parse_i32(s, 10);
	uint8_t buf[12];
	snprintk(buf, 12, "%d", id);
	if (strcmp(buf, s) != 0)
		return -1;
	return id;
}

static int parse_config_settings_write(char *s, int32_t v)
{
	int32_t id = parse_config_settings_id(s);
	uint16_t k = 0;
	for (int i = 0; i < CONFIG_SETTINGS_COUNT; i++)
	{
		for (int j = 0; j < config_settings_count[i]; j++)
		{
			if (id < 0 ? strcmp(s, config_settings_names[k]) == 0 : id == k)
			{
				switch (i)
				{
				case 0:
					if (v < 0 || v > 1)
						break;
					config_0_settings_write(j, v);
					return 0;
				case 1:
					if (v < 0 || v > 1)
						break;
					config_1_settings_write(j, v);
					return 0;
				case 2:
					if (v < INT16_MIN || v > INT16_MAX)
						break;
					config_2_settings_write(j, v);
					return 0;
				case 3:
					config_3_settings_write(j, v);
					return 0;
				default:
					break;
				}
				printk("Invalid value\n");
				return -1;
			}
			k++;
		}
	}
	printk("Invalid config name or id\n");
	return -1;
}

static void parse_config_settings_read(char *s)
{
	int32_t id = parse_config_settings_id(s);
	uint16_t k = 0;
	for (int i = 0; i < CONFIG_SETTINGS_COUNT; i++)
	{
		for (int j = 0; j < config_settings_count[i]; j++)
		{
			if (id < 0 ? strcmp(s, config_settings_names[k]) == 0 : id == k)
			{
				int32_t val = -1;
				switch (i)
				{
				case 0:
					val = CONFIG_0_SETTINGS_READ(j);
					break;
				case 1:
					val = CONFIG_1_SETTINGS_READ(j);
					break;
				case 2:
					val = CONFIG_2_SETTINGS_READ(j);
					break;
				case 3:
					val = CONFIG_3_SETTINGS_READ(j);
					break;
				default:
					break;
				}
				printk("Read config: %s=%d\n", config_settings_names[k], val);
				return;
			}
			k++;
		}
	}
	printk("Invalid config name or id\n");
}

static int parse_config_settings_reset(char *s)
{
	int32_t id = parse_config_settings_id(s);
	uint16_t k = 0;
	for (int i = 0; i < CONFIG_SETTINGS_COUNT; i++)
	{
		for (int j = 0; j < config_settings_count[i]; j++)
		{
			if (id < 0 ? strcmp(s, config_settings_names[k]) == 0 : id == k)
			{
				config_settings_reset(i, j);
				return 0;
			}
			k++;
		}
	}
	printk("Invalid config name or id\n");
	return -1;
}

static inline void strtolower(char *str) {
	for(int i = 0; str[i]; i++) {
		str[i] = tolower(str[i]);
	}
}

static void console_thread(void)
{
#if USB_EXISTS && DFU_EXISTS
	if (button_read()) // button held on usb connect, enter DFU
	{
#if ADAFRUIT_BOOTLOADER
		NRF_POWER->GPREGRET = 0x57;
		sys_request_system_reboot(false);
#endif
#if NRF5_BOOTLOADER
		gpio_pin_configure(gpio_dev, 19, GPIO_OUTPUT | GPIO_OUTPUT_INIT_LOW);
#endif
	}
#endif

#if USB_EXISTS
	console_getline_init();
	while (log_data_pending())
		k_usleep(1);
	k_msleep(100);
	printk("*** " CONFIG_USB_DEVICE_MANUFACTURER " " CONFIG_USB_DEVICE_PRODUCT " ***\n");
#endif
	printk(FW_STRING);
	printk("info                         Get device information\n");
	printk("uptime                       Get device uptime\n");
	printk("reboot                       Soft reset the device\n");
	printk("battery                      Get battery information\n");
	printk("scan                         Restart sensor scan\n");
	printk("calibrate                    Calibrate sensor ZRO\n");
	printk("6-side                       Calibrate 6-side accelerometer\n");

	const char command_info[] = "info";
	const char command_uptime[] = "uptime";
	const char command_reboot[] = "reboot";
	const char command_battery[] = "battery";
	const char command_scan[] = "scan";
	const char command_calibrate[] = "calibrate";
	const char command_6_side[] = "6-side";

#if SENSOR_MAG_EXISTS
	printk("mag                          Clear magnetometer calibration\n");

	const char command_mag[] = "mag";
#endif

	printk("set <address>                Manually set receiver\n");
	printk("pair                         Enter pairing mode\n");
	printk("clear                        Clear pairing data\n");

	const char command_set[] = "set";
	const char command_pair[] = "pair";
	const char command_clear[] = "clear";

#if DFU_EXISTS
	printk("dfu                          Enter DFU bootloader\n");

	const char command_dfu[] = "dfu";
#endif

	printk("meow                         Meow!\n");

	const char command_meow[] = "meow";

	// debug
	const char command_reset_data[] = "reset_data";
	const char command_reset_arg_zro[] = "zro";
	const char command_reset_arg_acc[] = "acc";
#if SENSOR_MAG_EXISTS
	const char command_reset_arg_mag[] = "mag";
#endif
	const char command_reset_arg_bat[] = "bat";
	const char command_reset_arg_all[] = "all";

	// settings
	const char command_list_config[] = "list_config";
	const char command_write_config[] = "write_config";
	const char command_read_config[] = "read_config";
	const char command_reset_config[] = "reset_config";
	const char command_wr_arg_all[] = "all";

	while (1) {
#if USB_EXISTS
		char *line = console_getline();
#else
		char *line = rtt_console_getline();
#endif
		char* argv[5] = {NULL}; // command and 4 args
		size_t argc = parse_args(line, argv, ARRAY_SIZE(argv));
		if(argc == 0)
			continue;
		if(argc > 0)
			strtolower(argv[0]); // lower case the command
		if(argc > 1)
			strtolower(argv[1]); // lower case the first argument
		// only care that the first words are matchable

		if (strcmp(argv[0], command_info) == 0)
		{
			print_info();
		}
		else if (strcmp(argv[0], command_uptime) == 0)
		{
			uint64_t uptime = k_uptime_ticks();
			print_uptime(uptime, "Uptime");
			print_uptime(uptime - retained->uptime_latest + retained->uptime_sum, "Accumulated");
		}
		else if (strcmp(argv[0], command_reboot) == 0)
		{
			sys_request_system_reboot(false);
		}
		else if (strcmp(argv[0], command_battery) == 0)
		{
			print_battery_tracker();
		}
		else if (strcmp(argv[0], command_scan) == 0)
		{
			sensor_request_scan(true);
		}
		else if (strcmp(argv[0], command_calibrate) == 0)
		{
			sensor_request_calibration();
		}
		else if (strcmp(argv[0], command_6_side) == 0)
		{
			sensor_request_calibration_6_side();
		}
#if SENSOR_MAG_EXISTS
		else if (strcmp(argv[0], command_mag) == 0)
		{
			sensor_calibration_clear_mag(NULL, true);
		}
#endif
		else if (strcmp(argv[0], command_set) == 0)
		{
			if (argc != 2)
			{
				printk("Invalid number of arguments\n");
				continue;
			}
			uint64_t addr = parse_u64(argv[1], 16);
			uint8_t buf[17];
			snprintk(buf, 17, "%016llx", addr);
			if (addr != 0 && strcmp(buf, argv[1]) == 0)
				esb_set_pair(addr);
			else
				printk("Invalid address\n");
		}
		else if (strcmp(argv[0], command_pair) == 0)
		{
			esb_reset_pair();
		}
		else if (strcmp(argv[0], command_clear) == 0)
		{
			esb_clear_pair();
		}
#if DFU_EXISTS
		else if (strcmp(argv[0], command_dfu) == 0)
		{
#if ADAFRUIT_BOOTLOADER
			NRF_POWER->GPREGRET = 0x57;
			sys_request_system_reboot(false);
#endif
#if NRF5_BOOTLOADER
			gpio_pin_configure(gpio_dev, 19, GPIO_OUTPUT | GPIO_OUTPUT_INIT_LOW);
#endif
		}
#endif
		else if (strcmp(argv[0], command_meow) == 0)
		{
			print_meow();
		}
		else if (strcmp(argv[0], command_reset_data) == 0)
		{
			if (argc != 2)
				printk("Invalid number of arguments\n");
			else if (strcmp(argv[1], command_reset_arg_zro) == 0)
				sensor_calibration_clear(NULL, NULL, true);
			else if (strcmp(argv[1], command_reset_arg_acc) == 0)
				sensor_calibration_clear_6_side(NULL, true);
#if SENSOR_MAG_EXISTS
			else if (strcmp(argv[1], command_reset_arg_mag) == 0)
				sensor_calibration_clear_mag(NULL, true);
#endif
			else if (strcmp(argv[1], command_reset_arg_bat) == 0)
				sys_reset_battery_tracker();
			else if (strcmp(argv[1], command_reset_arg_all) == 0)
				sys_clear();
			else
				printk("Invalid argument\n");
		}
		else if (strcmp(line, command_list_config) == 0)
		{
			uint16_t k = 0;
			for (int i = 0; i < CONFIG_SETTINGS_COUNT; i++)
			{
				printk("Config %d:\n", i);
				for (int j = 0; j < config_settings_count[i]; j++)
				{
					printk("%u: %s\n", k, config_settings_names[k]);
					k++;
				}
			}
		}
		else if (strcmp(argv[0], command_write_config) == 0)
		{
			if (argc != 3)
			{
				printk("Invalid number of arguments\n");
			}
			else if (strcmp(argv[1], command_wr_arg_all) == 0)
			{
				uint8_t *tmp = k_malloc(128);
				uint16_t len = 0;
				int err = base64_decode(tmp, 128, (size_t *)&len, argv[2], 172);
				if (err)
				{
					printk("Unable to decode input");
					continue;
				}
				//printk("decode: %d, len %d\n", err, len);
				memcpy(retained->settings, tmp, sizeof(retained->settings));
				sys_write(SETTINGS_ID, NULL, retained->settings, sizeof(retained->settings));
				k_free(tmp);
				printk("Updated config\n");
			}
			else
			{
				int32_t val = parse_i32(argv[2], 10);
				if (!parse_config_settings_write(argv[1], val))
					printk("Updated config: %s=%d\n", argv[1], val);
			}
		}
		else if (strcmp(line, command_read_config) == 0)
		{
			if (argc != 2)
			{
				printk("Invalid number of arguments\n");
			}
			else if (strcmp(argv[1], command_wr_arg_all) == 0)
			{
				uint8_t *tmp = k_malloc(173);
				uint16_t len = 0;
				base64_encode(tmp, 173, (size_t *)&len, retained->settings, 128);
				//printk("encode: %d, len %d\n", err, len);
				printk("%s\n", tmp);
				k_free(tmp);
			}
			else
			{
				parse_config_settings_read(argv[1]);
			}
		}
		else if (strcmp(line, command_reset_config) == 0)
		{
			if (argc != 2)
			{
				printk("Invalid number of arguments\n");
			}
			else if (strcmp(argv[1], command_wr_arg_all) == 0)
			{
				config_settings_reset_all();
			}
			else
			{
				if (!parse_config_settings_reset(argv[1]))
					printk("Reset config: %s\n", argv[1]);
			}
		}
		else
		{
			printk("Unknown command\n");
		}
	}
}

#endif
```
